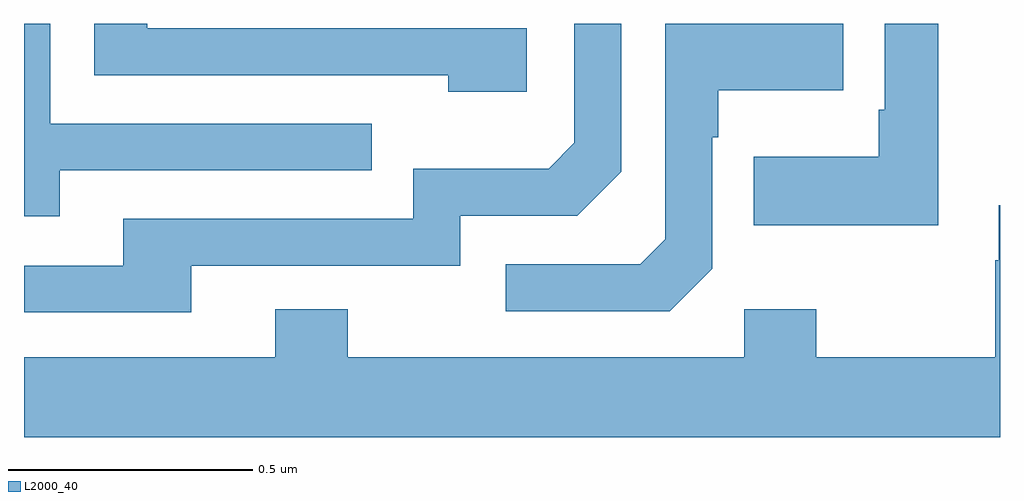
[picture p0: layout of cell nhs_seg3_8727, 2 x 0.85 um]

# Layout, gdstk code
import gdstk
lib = gdstk.Library(unit=1e-6, precision=1e-09)
def P(c, l, *ps):  # polygons
    for p in ps: c.add(gdstk.Polygon(p, *l))
L2000_40 = (2000, 40)

nhs_seg3_8727 = lib.new_cell('nhs_seg3_8727')
P(nhs_seg3_8727, L2000_40, [(219.343,731.904),(219.894,731.904),(219.894,732.006),(220.134,732.006),(220.224,732.096),(220.224,732.4),(220.128,732.4),(220.128,732.156),(220.075,732.103),(219.798,732.103),(219.798,732),(219.203,732),(219.203,731.904),(219,731.904),(219,731.808),(219.343,731.808)],
  [(220.873,732.4),(220.764,732.4),(220.764,732.223),(220.752,732.223),(220.752,732.127),(220.495,732.127),(220.495,731.987),(220.873,731.987)],
  [(220.41,731.898),(220.41,732.167),(220.423,732.167),(220.423,732.263),(220.679,732.263),(220.679,732.4),(220.314,732.4),(220.314,731.958),(220.263,731.907),(219.987,731.907),(219.987,731.811),(220.323,731.811)],
  [(219.073,732.099),(219.713,732.099),(219.713,732.195),(219.054,732.195),(219.054,732.4),(219,732.4),(219,732.005),(219.073,732.005)],
  [(220.03,732.39),(219.253,732.39),(219.253,732.4),(219.144,732.4),(219.144,732.294),(219.869,732.294),(219.869,732.26),(220.03,732.26)],
  [(221,732.028),(220.997,732.028),(220.997,731.915),(220.99,731.915),(220.99,731.716),(220.623,731.716),(220.623,731.815),(220.476,731.815),(220.476,731.716),(219.663,731.716),(219.663,731.815),(219.515,731.815),(219.515,731.716),(219,731.716),(219,731.552),(221,731.552)])

lib.write_gds('nhs_seg3_8727.gds')
